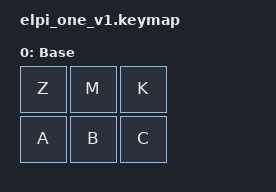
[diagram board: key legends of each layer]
#include <behaviors.dtsi>
#include <dt-bindings/zmk/keys.h>
#include <dt-bindings/zmk/bt.h>

/ {
    keymap {
        compatible = "zmk,keymap";

        default_layer { // Layer 0
            display-name = "Base";
// ----------------------------------------------
// |     Z     |     M     |     K     |
// |     A     |     B     |     C     |
            bindings = <
                &kp Z    &kp M    &kp K
                &kp A    &kp B    &kp C
            >;
        };
    };
}
